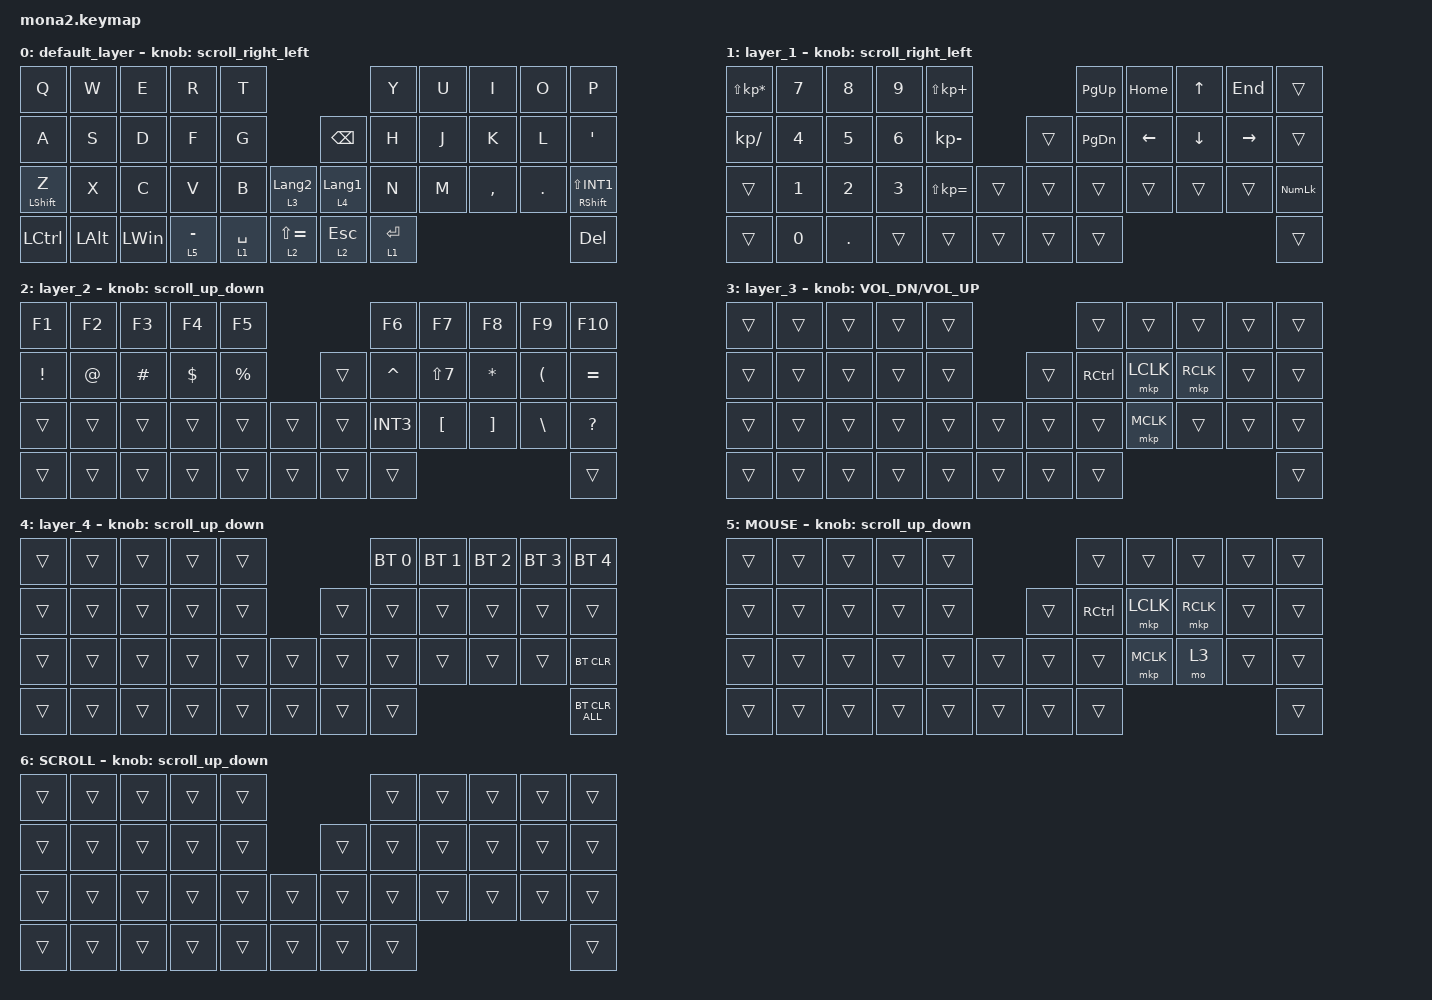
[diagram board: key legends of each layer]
#include <input/processors.dtsi>
#include <dt-bindings/zmk/input_transform.h>
#include <zephyr/dt-bindings/input/input-event-codes.h>
#include <behaviors.dtsi>
#include <dt-bindings/zmk/bt.h>
#include <dt-bindings/zmk/keys.h>
#include <dt-bindings/zmk/pointing.h>

#define ZMK_POINTING_DEFAULT_SCRL_VAL 100
#define MOUSE 5
#define SCROLL 6

&mt {
    flavor = "balanced";
    quick-tap-ms = <0>;
};

&lt {
    quick-tap-ms = <300>;
    flavor = "balanced";
};

/ {
    combos {
        compatible = "zmk,combos";

        move_layer4 {
            bindings = <&mo 4>;
            key-positions = <39 38>;
        };

        tab {
            bindings = <&kp TAB>;
            key-positions = <11 12>;
        };

        Semicolon {
            bindings = <&kp SEMI>;
            key-positions = <19 20>;
        };

        underber {
            bindings = <&kp LS(INT1)>;
            key-positions = <31 32>;
        };
    };

    macros {
        to_layer_0: to_layer_0 {
            compatible = "zmk,behavior-macro-one-param";
            #binding-cells = <1>;
            bindings = <&to 0 &macro_param_1to1 &kp MACRO_PLACEHOLDER>;
            label = "TO_LAYER_0";
        };
    };

    behaviors {
        lt_to_layer_0: lt_to_layer_0 {
            compatible = "zmk,behavior-hold-tap";
            label = "LAYER_TAP_TO_0";
            bindings = <&mo>, <&to_layer_0>;

            #binding-cells = <2>;
            tapping-term-ms = <200>;
        };

        scroll_up_down: mouse_wheel_up_down {
            compatible = "zmk,behavior-sensor-rotate";
            #sensor-binding-cells = <0>;
            bindings = <&msc SCRL_DOWN>, <&msc SCRL_UP>;

            tap-ms = <20>;
        };

        scroll_right_left: mouse_wheel_right_left {
            compatible = "zmk,behavior-sensor-rotate";
            #sensor-binding-cells = <0>;
            bindings = <&msc SCRL_LEFT>, <&msc SCRL_RIGHT>;

            tap-ms = <20>;
        };
    };

    keymap {
        compatible = "zmk,keymap";

        default_layer {
            bindings = <
&kp Q             &kp W         &kp E         &kp R        &kp T                                              &kp Y        &kp U  &kp I      &kp O    &kp P
&kp A             &kp S         &kp D         &kp F        &kp G                            &kp BACKSPACE     &kp H        &kp J  &kp K      &kp L    &kp SQT
&mt LEFT_SHIFT Z  &kp X         &kp C         &kp V        &kp B        &lt 3 LANGUAGE_2    &lt 4 LANGUAGE_1  &kp N        &kp M  &kp COMMA  &kp DOT  &mt RIGHT_SHIFT LS(INT1)
&kp LCTRL         &kp LEFT_ALT  &kp LEFT_WIN  &lt 5 MINUS  &lt 1 SPACE  &lt 2 LS(EQUAL)     &lt 2 ESC         &lt 1 ENTER                             &kp DEL
            >;

            sensor-bindings = <&scroll_right_left>;
        };

        layer_1 {
            bindings = <
&kp LS(KP_ASTERISK)  &kp NUMBER_7  &kp NUMBER_8  &kp NUMBER_9  &kp LS(KP_PLUS)                     &kp PAGE_UP    &kp HOME  &kp UP    &kp END    &trans
&kp KP_DIVIDE        &kp NUMBER_4  &kp NUMBER_5  &kp NUMBER_6  &kp KP_MINUS                &trans  &kp PAGE_DOWN  &kp LEFT  &kp DOWN  &kp RIGHT  &trans
&trans               &kp NUMBER_1  &kp NUMBER_2  &kp NUMBER_3  &kp LS(KP_EQUAL)  &trans    &trans  &trans         &trans    &trans    &trans     &kp KP_NUMLOCK
&trans               &kp NUMBER_0  &kp PERIOD    &trans        &trans            &trans    &trans  &trans                                        &trans
            >;

            sensor-bindings = <&scroll_right_left>;
        };

        layer_2 {
            bindings = <
&kp F1           &kp F2       &kp F3    &kp F4      &kp F5                         &kp F6     &kp F7      &kp F8        &kp F9    &kp F10
&kp EXCLAMATION  &kp AT_SIGN  &kp HASH  &kp DOLLAR  &kp PERCENT            &trans  &kp CARET  &kp LS(N7)  &kp ASTERISK  &kp LPAR  &kp EQUAL
&trans           &trans       &trans    &trans      &trans       &trans    &trans  &kp INT3   &kp LBKT    &kp RBKT      &kp BSLH  &kp QUESTION
&trans           &trans       &trans    &trans      &trans       &trans    &trans  &trans                                         &trans
            >;

            sensor-bindings = <&scroll_up_down>;
        };

        layer_3 {
            bindings = <
&trans  &trans  &trans  &trans  &trans                    &trans     &trans     &trans     &trans  &trans
&trans  &trans  &trans  &trans  &trans            &trans  &kp RCTRL  &mkp LCLK  &mkp RCLK  &trans  &trans
&trans  &trans  &trans  &trans  &trans  &trans    &trans  &trans     &mkp MCLK  &trans     &trans  &trans
&trans  &trans  &trans  &trans  &trans  &trans    &trans  &trans                                   &trans
            >;

            sensor-bindings = <&inc_dec_kp C_VOL_DN C_VOL_UP>;
        };

        layer_4 {
            bindings = <
&trans  &trans  &trans  &trans  &trans                    &bt BT_SEL 0  &bt BT_SEL 1  &bt BT_SEL 2  &bt BT_SEL 3  &bt BT_SEL 4
&trans  &trans  &trans  &trans  &trans            &trans  &trans        &trans        &trans        &trans        &trans
&trans  &trans  &trans  &trans  &trans  &trans    &trans  &trans        &trans        &trans        &trans        &bt BT_CLR
&trans  &trans  &trans  &trans  &trans  &trans    &trans  &trans                                                  &bt BT_CLR_ALL
            >;

            sensor-bindings = <&scroll_up_down>;
        };

        MOUSE {
            bindings = <
&trans  &trans  &trans  &trans  &trans                    &trans     &trans     &trans     &trans  &trans
&trans  &trans  &trans  &trans  &trans            &trans  &kp RCTRL  &mkp LCLK  &mkp RCLK  &trans  &trans
&trans  &trans  &trans  &trans  &trans  &trans    &trans  &trans     &mkp MCLK  &mo 3      &trans  &trans
&trans  &trans  &trans  &trans  &trans  &trans    &trans  &trans                                   &trans
            >;

            sensor-bindings = <&scroll_up_down>;
        };

        SCROLL {
            bindings = <
&trans  &trans  &trans  &trans  &trans                    &trans  &trans  &trans  &trans  &trans
&trans  &trans  &trans  &trans  &trans            &trans  &trans  &trans  &trans  &trans  &trans
&trans  &trans  &trans  &trans  &trans  &trans    &trans  &trans  &trans  &trans  &trans  &trans
&trans  &trans  &trans  &trans  &trans  &trans    &trans  &trans                          &trans
            >;

            sensor-bindings = <&scroll_up_down>;
        };
    };
};
